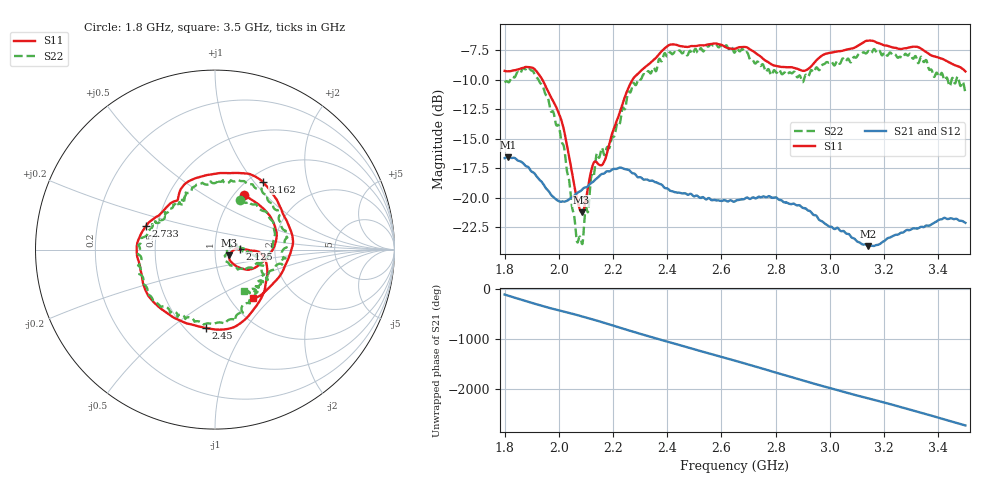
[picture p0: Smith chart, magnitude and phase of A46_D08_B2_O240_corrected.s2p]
! Created with skrf 1.9.0 (http://scikit-rf.org).
# Hz S RI R 50.0
!freq ReS11 ImS11 ReS21 ImS21 ReS12 ImS12 ReS22 ImS22
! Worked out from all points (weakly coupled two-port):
!   1601 points, 1.8 GHz to 3.5 GHz, reference 50 ohm
!   highest |S21| = -16.56 dB at 1.812 GHz (marker M1); lowest = -24.1 dB at 3.142 GHz (marker M2)
!   lowest |S11| = -21.2 dB at 2.084 GHz (marker M3), VSWR 1.19, Z = 58.6 - j3.87 ohm
!   |S11| at or under -10 dB: 1.94 GHz to 2.271 GHz (331.6 MHz wide, 15.7 % of centre)
!   |S22| runs from -24.0 to -6.9 dB; largest |S21 - S12| = 0.0028
!   S11 on the Smith chart (normalised r, x): 1.8 GHz: 1.11, +0.77; 2.125 GHz: 1.32, +0.02; 2.45 GHz: 0.62, -0.67; 2.733 GHz: 0.43, +0.14; 3.162 GHz: 1.15, +1.11; 3.5 GHz: 1.26, -0.78
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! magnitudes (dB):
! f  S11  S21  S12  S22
! 1.8 GHz  -9.2  -16.6  -16.6  -10.2
! 1.812 GHz  -9.3  -16.6  -16.6  -10.2
! 1.887 GHz  -8.9  -17.4  -17.5  -8.9
! 1.94 GHz  -10.0  -18.8  -18.8  -10.5
! 2.01 GHz  -13.5  -20.3  -20.3  -15.3
! 2.065 GHz  -19.9  -19.7  -19.7  -23.3
! 2.084 GHz  -21.2  -19.4  -19.3  -23.8
! 2.125 GHz  -17.2  -18.7  -18.7  -18.2
! 2.143 GHz  -17.1  -18.3  -18.3  -16.3
! 2.168 GHz  -16.9  -17.9  -17.9  -16.4
! 2.27 GHz  -10.1  -17.9  -17.9  -10.7
! 2.367 GHz  -7.9  -18.8  -18.7  -8.4
! 2.45 GHz  -7.1  -19.6  -19.6  -7.6
! 2.65 GHz  -7.4  -20.3  -20.3  -7.6
! 2.733 GHz  -7.8  -20.0  -20.0  -8.4
! 2.899 GHz  -9.2  -20.9  -20.9  -10.2
! 2.934 GHz  -8.8  -21.3  -21.3  -9.2
! 3.142 GHz  -6.7  -24.1  -24.0  -7.6
! 3.162 GHz  -6.7  -24.1  -24.1  -7.4
! 3.217 GHz  -7.1  -23.4  -23.4  -7.8
! 3.342 GHz  -7.4  -22.5  -22.5  -8.3
! 3.5 GHz  -9.3  -22.1  -22.1  -11.1
